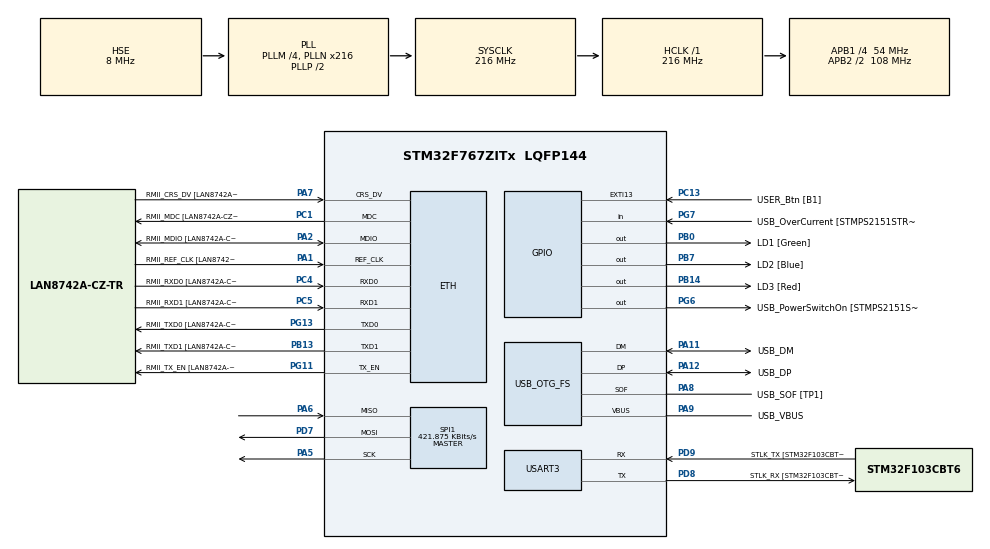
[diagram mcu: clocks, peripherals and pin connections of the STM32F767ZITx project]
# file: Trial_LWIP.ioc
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CORTEX_M7.AccessPermission_S-Cortex_Memory_Protection_Unit_Region1_Settings_S=MPU_REGION_FULL_ACCESS
CORTEX_M7.AccessPermission_S-Cortex_Memory_Protection_Unit_Region2_Settings_S=MPU_REGION_FULL_ACCESS
CORTEX_M7.BaseAddress_S-Cortex_Memory_Protection_Unit_Region1_Settings_S=0x24000000
CORTEX_M7.BaseAddress_S-Cortex_Memory_Protection_Unit_Region2_Settings_S=0x24020000
CORTEX_M7.CPU_DCache=Enabled
CORTEX_M7.CPU_ICache=Enabled
CORTEX_M7.DisableExec_S-Cortex_Memory_Protection_Unit_Region1_Settings_S=MPU_INSTRUCTION_ACCESS_DISABLE
CORTEX_M7.DisableExec_S-Cortex_Memory_Protection_Unit_Region2_Settings_S=MPU_INSTRUCTION_ACCESS_DISABLE
CORTEX_M7.Enable_S-Cortex_Memory_Protection_Unit_Region1_Settings_S=MPU_REGION_ENABLE
CORTEX_M7.Enable_S-Cortex_Memory_Protection_Unit_Region2_Settings_S=MPU_REGION_ENABLE
CORTEX_M7.IsBufferable_S-Cortex_Memory_Protection_Unit_Region2_Settings_S=MPU_ACCESS_BUFFERABLE
CORTEX_M7.IsShareable_S-Cortex_Memory_Protection_Unit_Region2_Settings_S=MPU_ACCESS_SHAREABLE
CORTEX_M7.MPU_Control=MPU_PRIVILEGED_DEFAULT
CORTEX_M7.Size_S-Cortex_Memory_Protection_Unit_Region1_Settings_S=MPU_REGION_SIZE_128KB
CORTEX_M7.Size_S-Cortex_Memory_Protection_Unit_Region2_Settings_S=MPU_REGION_SIZE_512B
CORTEX_M7.TypeExtField_S-Cortex_Memory_Protection_Unit_Region1_Settings_S=MPU_TEX_LEVEL1
CORTEX_M7.default_mode_Activation=1
ETH.MediaInterface=HAL_ETH_RMII_MODE
ETH.PHY_Name=LAN8742A_PHY_ADDRESS
ETH.PHY_Value=0
ETH.PhyAddress=0
ETH.RxMode=ETH_RXINTERRUPT_MODE
FREERTOS.BinarySemaphores01=bufsem,Dynamic,NULL
FREERTOS.Tasks01=defaultTask,0,256,StartDefaultTask,Default,NULL,Dynamic,NULL,NULL
FREERTOS.configMINIMAL_STACK_SIZE=256
LWIP.BSP.number=1
LWIP.GATEWAY_ADDRESS=010.042.000.001
LWIP.IP_ADDRESS=010.042.000.015
LWIP.LWIP_DHCP=0
LWIP.MEM_SIZE=16360
LWIP.NETMASK_ADDRESS=255.255.255.000
LWIP.Version=v2.1.2_Cube
LWIP0.BSP.STBoard=false
LWIP0.BSP.api=BSP_COMPONENT_DRIVER
LWIP0.BSP.component=LAN8742
LWIP0.BSP.instance=LAN8742
LWIP0.BSP.name=Driver_PHY
LWIP0.BSP.semaphore=S_LAN8742
LWIP0.BSP.solution=LAN8742
Mcu.Family=STM32F7
Mcu.Name=STM32F767ZITx
Mcu.Package=LQFP144
NVIC.ETH_IRQn=true\:5\:0\:false\:false\:true\:true\:false\:true\:true
NVIC.PriorityGroup=NVIC_PRIORITYGROUP_4
NVIC.SPI1_IRQn=true\:5\:0\:false\:false\:true\:true\:true\:true\:true
NVIC.TIM6_DAC_IRQn=true\:15\:0\:false\:false\:true\:false\:false\:true\:true
NVIC.TimeBase=TIM6_DAC_IRQn
NVIC.TimeBaseIP=TIM6
PA1.GPIO_Label=RMII_REF_CLK [LAN8742A-CZ-TR_REFCLK0]
PA1.Mode=RMII
PA1.Signal=ETH_REF_CLK
PA10.GPIO_Label=USB_ID
PA10.Signal=USB_OTG_FS_ID
PA11.GPIO_Label=USB_DM
PA11.Mode=Device_Only
PA11.Signal=USB_OTG_FS_DM
PA12.GPIO_Label=USB_DP
PA12.Mode=Device_Only
PA12.Signal=USB_OTG_FS_DP
PA13.GPIO_Label=TMS
PA13.Mode=Serial_Wire
PA13.Signal=SYS_JTMS-SWDIO
PA14.GPIO_Label=TCK
PA14.Mode=Serial_Wire
PA14.Signal=SYS_JTCK-SWCLK
PA2.GPIO_Label=RMII_MDIO [LAN8742A-CZ-TR_MDIO]
PA2.Mode=RMII
PA2.Signal=ETH_MDIO
PA5.Mode=Full_Duplex_Master
PA5.Signal=SPI1_SCK
PA6.Mode=Full_Duplex_Master
PA6.Signal=SPI1_MISO
PA7.GPIO_Label=RMII_CRS_DV [LAN8742A-CZ-TR_CRS_DV]
PA7.Mode=RMII
PA7.Signal=ETH_CRS_DV
PA8.GPIO_Label=USB_SOF [TP1]
PA8.Mode=Activate_SOF_FS
PA8.Signal=USB_OTG_FS_SOF
PA9.GPIO_Label=USB_VBUS
PA9.Mode=Activate_VBUS
PA9.Signal=USB_OTG_FS_VBUS
PB0.GPIO_Label=LD1 [Green]
PB0.Signal=GPIO_Output
PB13.GPIO_Label=RMII_TXD1 [LAN8742A-CZ-TR_TXD1]
PB13.Mode=RMII
PB13.Signal=ETH_TXD1
PB14.GPIO_Label=LD3 [Red]
PB14.Signal=GPIO_Output
PB3.GPIO_Label=SWO
PB3.Signal=SYS_JTDO-SWO
PB7.GPIO_Label=LD2 [Blue]
PB7.Signal=GPIO_Output
PC1.GPIO_Label=RMII_MDC [LAN8742A-CZ-TR_MDC]
PC1.Mode=RMII
PC1.Signal=ETH_MDC
PC13.GPIO_Label=USER_Btn [B1]
PC13.Signal=GPXTI13
PC14/OSC32_IN.Mode=LSE-External-Oscillator
PC14/OSC32_IN.Signal=RCC_OSC32_IN
PC15/OSC32_OUT.Mode=LSE-External-Oscillator
PC15/OSC32_OUT.Signal=RCC_OSC32_OUT
PC4.GPIO_Label=RMII_RXD0 [LAN8742A-CZ-TR_RXD0]
PC4.Mode=RMII
PC4.Signal=ETH_RXD0
PC5.GPIO_Label=RMII_RXD1 [LAN8742A-CZ-TR_RXD1]
PC5.Mode=RMII
PC5.Signal=ETH_RXD1
PD7.Mode=Full_Duplex_Master
PD7.Signal=SPI1_MOSI
PD8.GPIO_Label=STLK_RX [STM32F103CBT6_PA3]
PD8.Mode=Asynchronous
PD8.Signal=USART3_TX
PD9.GPIO_Label=STLK_TX [STM32F103CBT6_PA2]
PD9.Mode=Asynchronous
PD9.Signal=USART3_RX
PG11.GPIO_Label=RMII_TX_EN [LAN8742A-CZ-TR_TXEN]
PG11.Mode=RMII
PG11.Signal=ETH_TX_EN
PG13.GPIO_Label=RMII_TXD0 [LAN8742A-CZ-TR_TXD0]
PG13.Mode=RMII
PG13.Signal=ETH_TXD0
PG6.GPIO_Label=USB_PowerSwitchOn [STMPS2151STR_EN]
PG6.Signal=GPIO_Output
PG7.GPIO_Label=USB_OverCurrent [STMPS2151STR_FAULT]
PG7.Signal=GPIO_Input
PH0/OSC_IN.GPIO_Label=MCO [STM32F103CBT6_PA8]
PH0/OSC_IN.Mode=HSE-External-Clock-Source
PH0/OSC_IN.Signal=RCC_OSC_IN
PH1/OSC_OUT.Mode=HSE-External-Clock-Source
PH1/OSC_OUT.Signal=RCC_OSC_OUT
ProjectManager.HeapSize=0x200
ProjectManager.StackSize=0x400
ProjectManager.TargetToolchain=STM32CubeIDE
RCC.48MHZClocksFreq_Value=24000000
RCC.AHBFreq_Value=216000000
RCC.APB1CLKDivider=RCC_HCLK_DIV4
RCC.APB1Freq_Value=54000000
RCC.APB1TimFreq_Value=108000000
RCC.APB2CLKDivider=RCC_HCLK_DIV2
RCC.APB2Freq_Value=108000000
RCC.APB2TimFreq_Value=216000000
RCC.CortexFreq_Value=216000000
RCC.HCLKFreq_Value=216000000
RCC.HSE_VALUE=8000000
RCC.HSI_VALUE=16000000
RCC.PLLM=4
RCC.PLLMUL=RCC_PLL_MUL9
RCC.PLLN=216
RCC.PLLQ=9
RCC.PRESCALERUSB=RCC_USBCLKSOURCE_PLL_DIV1_5
RCC.SYSCLKFreq_VALUE=216000000
RCC.SYSCLKSource=RCC_SYSCLKSOURCE_PLLCLK
RCC.SYSCLKSourceVirtual=RCC_SYSCLKSOURCE_PLLCLK
RCC.USBFreq_Value=48000000
RCC.VCOOutputFreq_Value=432000000
SPI1.BaudRatePrescaler=SPI_BAUDRATEPRESCALER_256
SPI1.CalculateBaudRate=421.875 KBits/s
SPI1.DataSize=SPI_DATASIZE_8BIT
SPI1.Direction=SPI_DIRECTION_2LINES
SPI1.Mode=SPI_MODE_MASTER
SPI1.VirtualType=VM_MASTER
USART3.VirtualMode-Asynchronous=VM_ASYNC
USB_OTG_FS.VirtualMode=Device_Only
VP_FREERTOS_VS_CMSIS_V1.Mode=CMSIS_V1
VP_LWIP_VS_Enabled.Mode=Enabled
VP_SYS_VS_tim6.Mode=TIM6
board=NUCLEO-F767ZI

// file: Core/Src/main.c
/* USER CODE BEGIN Header */
/**
  ******************************************************************************
  * @file           : main.c
  * @brief          : Main program body
  ******************************************************************************
  * @attention
  *
  * Copyright (c) 2023 STMicroelectronics.
  * All rights reserved.
  *
  * This software is licensed under terms that can be found in the LICENSE file
  * in the root directory of this software component.
  * If no LICENSE file comes with this software, it is provided AS-IS.
  *
  ******************************************************************************
  */
/* USER CODE END Header */
#include "main.h"
#include "cmsis_os.h"
#include "lwip.h"

/* USER CODE BEGIN Includes */
#include "spi.h"
#include "sys_cntrl_configs.h"
/* USER CODE END Includes */

SPI_HandleTypeDef hspi1;

UART_HandleTypeDef huart3;

PCD_HandleTypeDef hpcd_USB_OTG_FS;

osThreadId defaultTaskHandle;
/* USER CODE BEGIN PV */
extern osThreadId mqttClientSubTaskHandle;  //mqtt client task handle
extern osThreadId mqttClientPubTaskHandle;  //mqtt client task handle
extern spi_ spi_obj;

//uint8_t buffer_tx[1] = {0x02};
//uint8_t buffer_rx[1] = {0};
//extern uint8_t success;
/* USER CODE END PV */

void SystemClock_Config(void);
static void MPU_Config(void);
static void MX_GPIO_Init(void);
static void MX_USART3_UART_Init(void);
static void MX_USB_OTG_FS_PCD_Init(void);
static void MX_SPI1_Init(void);
void StartDefaultTask(void const * argument);

/* USER CODE BEGIN PFP */
extern void MqttClientSubTask(void const *argument); //mqtt client subscribe task function
extern void MqttClientPubTask(void const *argument); //mqtt client publish task function
extern void EngagePin(void);
extern void EngagePin1(void);
extern void DisEngagePin1(void);
extern void init_spi(spi_* s);

/* USER CODE END PFP */

int main(void)
{

  /* MPU Configuration--------------------------------------------------------*/
  MPU_Config();

  /* Enable I-Cache---------------------------------------------------------*/
  SCB_EnableICache();

  /* Enable D-Cache---------------------------------------------------------*/
  SCB_EnableDCache();

  /* MCU Configuration--------------------------------------------------------*/

  /* Reset of all peripherals, Initializes the Flash interface and the Systick. */
  HAL_Init();

  /* Configure the system clock */
  SystemClock_Config();

  /* Initialize all configured peripherals */
  MX_GPIO_Init();
  MX_USART3_UART_Init();
  MX_USB_OTG_FS_PCD_Init();
  MX_SPI1_Init();
  /* USER CODE BEGIN 2 */
  init_spi(&spi_obj);
//  HAL_SPI_TransmitReceive_IT(&hspi1, buffer_tx, buffer_rx, 1);
  /* USER CODE END 2 */

  /* Create the thread(s) */
  /* definition and creation of defaultTask */
  osThreadDef(defaultTask, StartDefaultTask, osPriorityNormal, 0, 256);
  defaultTaskHandle = osThreadCreate(osThread(defaultTask), NULL);

  /* Start scheduler */
  osKernelStart();
  /* We should never get here as control is now taken by the scheduler */
  /* Infinite loop */
  while (1)
  {

  }
}

void SystemClock_Config(void)
{
  RCC_OscInitTypeDef RCC_OscInitStruct = {0};
  RCC_ClkInitTypeDef RCC_ClkInitStruct = {0};

  /** Configure LSE Drive Capability
  */
  HAL_PWR_EnableBkUpAccess();

  /** Configure the main internal regulator output voltage
  */
  __HAL_RCC_PWR_CLK_ENABLE();
  __HAL_PWR_VOLTAGESCALING_CONFIG(PWR_REGULATOR_VOLTAGE_SCALE1);

  /** Initializes the RCC Oscillators according to the specified parameters
  * in the RCC_OscInitTypeDef structure.
  */
  RCC_OscInitStruct.OscillatorType = RCC_OSCILLATORTYPE_HSE;
  RCC_OscInitStruct.HSEState = RCC_HSE_BYPASS;
  RCC_OscInitStruct.PLL.PLLState = RCC_PLL_ON;
  RCC_OscInitStruct.PLL.PLLSource = RCC_PLLSOURCE_HSE;
  RCC_OscInitStruct.PLL.PLLM = 4;
  RCC_OscInitStruct.PLL.PLLN = 216;
  RCC_OscInitStruct.PLL.PLLP = RCC_PLLP_DIV2;
  RCC_OscInitStruct.PLL.PLLQ = 9;
  RCC_OscInitStruct.PLL.PLLR = 2;
  if (HAL_RCC_OscConfig(&RCC_OscInitStruct) != HAL_OK)
  {
    Error_Handler();
  }

  /** Activate the Over-Drive mode
  */
  if (HAL_PWREx_EnableOverDrive() != HAL_OK)
  {
    Error_Handler();
  }

  /** Initializes the CPU, AHB and APB buses clocks
  */
  RCC_ClkInitStruct.ClockType = RCC_CLOCKTYPE_HCLK|RCC_CLOCKTYPE_SYSCLK
                              |RCC_CLOCKTYPE_PCLK1|RCC_CLOCKTYPE_PCLK2;
  RCC_ClkInitStruct.SYSCLKSource = RCC_SYSCLKSOURCE_PLLCLK;
  RCC_ClkInitStruct.AHBCLKDivider = RCC_SYSCLK_DIV1;
  RCC_ClkInitStruct.APB1CLKDivider = RCC_HCLK_DIV4;
  RCC_ClkInitStruct.APB2CLKDivider = RCC_HCLK_DIV2;

  if (HAL_RCC_ClockConfig(&RCC_ClkInitStruct, FLASH_LATENCY_7) != HAL_OK)
  {
    Error_Handler();
  }
}

static void MX_SPI1_Init(void)
{

  /* SPI1 parameter configuration*/
  hspi1.Instance = SPI1;
  hspi1.Init.Mode = SPI_MODE_MASTER;
  hspi1.Init.Direction = SPI_DIRECTION_2LINES;
  hspi1.Init.DataSize = SPI_DATASIZE_8BIT;
  hspi1.Init.CLKPolarity = SPI_POLARITY_LOW;
  hspi1.Init.CLKPhase = SPI_PHASE_1EDGE;
  hspi1.Init.NSS = SPI_NSS_SOFT;
  hspi1.Init.BaudRatePrescaler = SPI_BAUDRATEPRESCALER_256;
  hspi1.Init.FirstBit = SPI_FIRSTBIT_MSB;
  hspi1.Init.TIMode = SPI_TIMODE_DISABLE;
  hspi1.Init.CRCCalculation = SPI_CRCCALCULATION_DISABLE;
  hspi1.Init.CRCPolynomial = 7;
  hspi1.Init.CRCLength = SPI_CRC_LENGTH_DATASIZE;
  hspi1.Init.NSSPMode = SPI_NSS_PULSE_ENABLE;
  if (HAL_SPI_Init(&hspi1) != HAL_OK)
  {
    Error_Handler();
  }

}

static void MX_USART3_UART_Init(void)
{

  huart3.Instance = USART3;
  huart3.Init.BaudRate = 115200;
  huart3.Init.WordLength = UART_WORDLENGTH_8B;
  huart3.Init.StopBits = UART_STOPBITS_1;
  huart3.Init.Parity = UART_PARITY_NONE;
  huart3.Init.Mode = UART_MODE_TX_RX;
  huart3.Init.HwFlowCtl = UART_HWCONTROL_NONE;
  huart3.Init.OverSampling = UART_OVERSAMPLING_16;
  huart3.Init.OneBitSampling = UART_ONE_BIT_SAMPLE_DISABLE;
  huart3.AdvancedInit.AdvFeatureInit = UART_ADVFEATURE_NO_INIT;
  if (HAL_UART_Init(&huart3) != HAL_OK)
  {
    Error_Handler();
  }

}

static void MX_USB_OTG_FS_PCD_Init(void)
{

  hpcd_USB_OTG_FS.Instance = USB_OTG_FS;
  hpcd_USB_OTG_FS.Init.dev_endpoints = 6;
  hpcd_USB_OTG_FS.Init.speed = PCD_SPEED_FULL;
  hpcd_USB_OTG_FS.Init.dma_enable = DISABLE;
  hpcd_USB_OTG_FS.Init.phy_itface = PCD_PHY_EMBEDDED;
  hpcd_USB_OTG_FS.Init.Sof_enable = ENABLE;
  hpcd_USB_OTG_FS.Init.low_power_enable = DISABLE;
  hpcd_USB_OTG_FS.Init.lpm_enable = DISABLE;
  hpcd_USB_OTG_FS.Init.vbus_sensing_enable = ENABLE;
  hpcd_USB_OTG_FS.Init.use_dedicated_ep1 = DISABLE;
  if (HAL_PCD_Init(&hpcd_USB_OTG_FS) != HAL_OK)
  {
    Error_Handler();
  }

}

static void MX_GPIO_Init(void)
{
  GPIO_InitTypeDef GPIO_InitStruct = {0};

  /* GPIO Ports Clock Enable */
  __HAL_RCC_GPIOC_CLK_ENABLE();
  __HAL_RCC_GPIOH_CLK_ENABLE();
  __HAL_RCC_GPIOA_CLK_ENABLE();
  __HAL_RCC_GPIOB_CLK_ENABLE();
  __HAL_RCC_GPIOD_CLK_ENABLE();
  __HAL_RCC_GPIOG_CLK_ENABLE();

  /*Configure GPIO pin Output Level */
  HAL_GPIO_WritePin(GPIOB, LD1_Pin|LD3_Pin|LD2_Pin, GPIO_PIN_RESET);

  /*Configure GPIO pin Output Level */
  HAL_GPIO_WritePin(USB_PowerSwitchOn_GPIO_Port, USB_PowerSwitchOn_Pin, GPIO_PIN_RESET);

  /*Configure GPIO pin : USER_Btn_Pin */
  GPIO_InitStruct.Pin = USER_Btn_Pin;
  GPIO_InitStruct.Mode = GPIO_MODE_IT_RISING;
  GPIO_InitStruct.Pull = GPIO_NOPULL;
  HAL_GPIO_Init(USER_Btn_GPIO_Port, &GPIO_InitStruct);

  /*Configure GPIO pins : LD1_Pin LD3_Pin LD2_Pin */
  GPIO_InitStruct.Pin = LD1_Pin|LD3_Pin|LD2_Pin;
  GPIO_InitStruct.Mode = GPIO_MODE_OUTPUT_PP;
  GPIO_InitStruct.Pull = GPIO_NOPULL;
  GPIO_InitStruct.Speed = GPIO_SPEED_FREQ_LOW;
  HAL_GPIO_Init(GPIOB, &GPIO_InitStruct);

  /*Configure GPIO pin : USB_PowerSwitchOn_Pin */
  GPIO_InitStruct.Pin = USB_PowerSwitchOn_Pin;
  GPIO_InitStruct.Mode = GPIO_MODE_OUTPUT_PP;
  GPIO_InitStruct.Pull = GPIO_NOPULL;
  GPIO_InitStruct.Speed = GPIO_SPEED_FREQ_LOW;
  HAL_GPIO_Init(USB_PowerSwitchOn_GPIO_Port, &GPIO_InitStruct);

  /*Configure GPIO pin : USB_OverCurrent_Pin */
  GPIO_InitStruct.Pin = USB_OverCurrent_Pin;
  GPIO_InitStruct.Mode = GPIO_MODE_INPUT;
  GPIO_InitStruct.Pull = GPIO_NOPULL;
  HAL_GPIO_Init(USB_OverCurrent_GPIO_Port, &GPIO_InitStruct);

}

void StartDefaultTask(void const * argument)
{
  /* init code for LWIP */
  MX_LWIP_Init();
  /* USER CODE BEGIN 5 */
  osThreadDef(mqttClientSubTask, MqttClientSubTask, osPriorityNormal, 0, configMINIMAL_STACK_SIZE*2); //subscribe task
  	osThreadDef(mqttClientPubTask, MqttClientPubTask, osPriorityNormal, 0, configMINIMAL_STACK_SIZE*2); //publish task
  	mqttClientSubTaskHandle = osThreadCreate(osThread(mqttClientSubTask), NULL);
  	mqttClientPubTaskHandle = osThreadCreate(osThread(mqttClientPubTask), NULL);
  /* Infinite loop */
  for(;;)
  {
//	  IRSENSOR1
//	  spi_obj.spi_read(buffer_tx[0],buffer_rx,&hspi1);
	  spi_obj.spi_read(IRSENSOR1,spi_obj.rx_buf,&hspi1);

    osDelay(20);

  }
  /* USER CODE END 5 */
}

/* MPU Configuration */

void MPU_Config(void)
{
  MPU_Region_InitTypeDef MPU_InitStruct = {0};

  /* Disables the MPU */
  HAL_MPU_Disable();

  /** Initializes and configures the Region and the memory to be protected
  */
  MPU_InitStruct.Enable = MPU_REGION_ENABLE;
  MPU_InitStruct.Number = MPU_REGION_NUMBER0;
  MPU_InitStruct.BaseAddress = 0x0;
  MPU_InitStruct.Size = MPU_REGION_SIZE_4GB;
  MPU_InitStruct.SubRegionDisable = 0x87;
  MPU_InitStruct.TypeExtField = MPU_TEX_LEVEL0;
  MPU_InitStruct.AccessPermission = MPU_REGION_NO_ACCESS;
  MPU_InitStruct.DisableExec = MPU_INSTRUCTION_ACCESS_DISABLE;
  MPU_InitStruct.IsShareable = MPU_ACCESS_SHAREABLE;
  MPU_InitStruct.IsCacheable = MPU_ACCESS_NOT_CACHEABLE;
  MPU_InitStruct.IsBufferable = MPU_ACCESS_NOT_BUFFERABLE;

  HAL_MPU_ConfigRegion(&MPU_InitStruct);

  /** Initializes and configures the Region and the memory to be protected
  */
  MPU_InitStruct.Number = MPU_REGION_NUMBER1;
  MPU_InitStruct.BaseAddress = 0x24000000;
  MPU_InitStruct.Size = MPU_REGION_SIZE_128KB;
  MPU_InitStruct.SubRegionDisable = 0x0;
  MPU_InitStruct.TypeExtField = MPU_TEX_LEVEL1;
  MPU_InitStruct.AccessPermission = MPU_REGION_FULL_ACCESS;
  MPU_InitStruct.IsShareable = MPU_ACCESS_NOT_SHAREABLE;

  HAL_MPU_ConfigRegion(&MPU_InitStruct);

  /** Initializes and configures the Region and the memory to be protected
  */
  MPU_InitStruct.Number = MPU_REGION_NUMBER2;
  MPU_InitStruct.BaseAddress = 0x24020000;
  MPU_InitStruct.Size = MPU_REGION_SIZE_512B;
  MPU_InitStruct.TypeExtField = MPU_TEX_LEVEL0;
  MPU_InitStruct.IsShareable = MPU_ACCESS_SHAREABLE;
  MPU_InitStruct.IsBufferable = MPU_ACCESS_BUFFERABLE;

  HAL_MPU_ConfigRegion(&MPU_InitStruct);
  /* Enables the MPU */
  HAL_MPU_Enable(MPU_PRIVILEGED_DEFAULT);

}

void HAL_TIM_PeriodElapsedCallback(TIM_HandleTypeDef *htim)
{
  if (htim->Instance == TIM6) {
    HAL_IncTick();
  }
}

void Error_Handler(void)
{
  __disable_irq();
  while (1)
  {
  }
}

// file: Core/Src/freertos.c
/* USER CODE BEGIN Header */
/**
  ******************************************************************************
  * File Name          : freertos.c
  * Description        : Code for freertos applications
  ******************************************************************************
  * @attention
  *
  * Copyright (c) 2023 STMicroelectronics.
  * All rights reserved.
  *
  * This software is licensed under terms that can be found in the LICENSE file
  * in the root directory of this software component.
  * If no LICENSE file comes with this software, it is provided AS-IS.
  *
  ******************************************************************************
  */
/* USER CODE END Header */

#include "FreeRTOS.h"
#include "task.h"
#include "main.h"

/* USER CODE BEGIN Includes */
#include <string.h>
#include "lwip.h"
#include "lwip/api.h"
#include "MQTTClient.h"
#include "MQTTInterface.h"
#include "sensor_data.h"
#include "process_data.h"
/* USER CODE END Includes */

/* USER CODE BEGIN PD */
#define BROKER_IP		"10.42.0.84"
#define MQTT_PORT		1883
#define MQTT_BUFSIZE	1024

/* USER CODE END PD */

/* USER CODE BEGIN Variables */
extern struct netif gnetif; //extern gnetif

osThreadId mqttClientSubTaskHandle;  //mqtt client task handle
osThreadId mqttClientPubTaskHandle;  //mqtt client task handle

Network net; //mqtt network
MQTTClient mqttClient; //mqtt client

uint8_t sndBuffer[MQTT_BUFSIZE]; //mqtt send buffer
uint8_t rcvBuffer[MQTT_BUFSIZE]; //mqtt receive buffer
uint8_t msgBuffer[MQTT_BUFSIZE]; //mqtt message buffer
extern volatile sensorData_buf sensorDataBuf; //sensor data buffer
extern osSemaphoreId bufsemHandle;

//pb_SensorData pb_recv_obj= pb_SensorData_init_zero;
sensorData sd1;
sensorData sd3;
sensorData sd5;
sensorData sd6;
//sensorData sd4 = sensorDataBuf.front(&sensorDataBuf);
/* USER CODE END Variables */

/* USER CODE BEGIN FunctionPrototypes */
void MqttClientSubTask(void const *argument); //mqtt client subscribe task function
void MqttClientPubTask(void const *argument); //mqtt client publish task function
int  MqttConnectBroker(void); 				//mqtt broker connect function
void MqttMessageArrived(MessageData* msg); //mqtt message callback function
void EngagePin(void);
void EngagePin1(void);
extern bool sensor_data_to_pbuf(sensorData* sd,uint8_t *msg_buf,uint32_t len);
/* USER CODE END FunctionPrototypes */

/* GetIdleTaskMemory prototype (linked to static allocation support) */
void vApplicationGetIdleTaskMemory( StaticTask_t **ppxIdleTaskTCBBuffer, StackType_t **ppxIdleTaskStackBuffer, uint32_t *pulIdleTaskStackSize );

/* USER CODE BEGIN GET_IDLE_TASK_MEMORY */
static StaticTask_t xIdleTaskTCBBuffer;
static StackType_t xIdleStack[configMINIMAL_STACK_SIZE];

void vApplicationGetIdleTaskMemory( StaticTask_t **ppxIdleTaskTCBBuffer, StackType_t **ppxIdleTaskStackBuffer, uint32_t *pulIdleTaskStackSize )
{
  *ppxIdleTaskTCBBuffer = &xIdleTaskTCBBuffer;
  *ppxIdleTaskStackBuffer = &xIdleStack[0];
  *pulIdleTaskStackSize = configMINIMAL_STACK_SIZE;
  /* place for user code */
}
/* USER CODE END GET_IDLE_TASK_MEMORY */

/* USER CODE BEGIN Application */
void MqttClientSubTask(void const *argument)
{
	while(1)
	{
		//waiting for valid ip address
		if (gnetif.ip_addr.addr == 0 || gnetif.netmask.addr == 0 || gnetif.gw.addr == 0) //system has no valid ip address
		{
			osDelay(1000);
			continue;
		}
		else
		{
			printf("DHCP/Static IP O.K.\n");
			break;
		}
	}

//	MqttConnectBroker();
//				osDelay(1000);

	while(1)
	{
		if(!mqttClient.isconnected)
		{
			//try to connect to the broker
			MQTTDisconnect(&mqttClient);
			MqttConnectBroker();
//			osDelay(1000);
			vTaskDelay(1000);
		}
		else
		{
//			EngagePin1();
			MQTTYield(&mqttClient, 1000); //handle timer
//			osDelay(100);
			vTaskDelay(1000);
		}
	}
}

void MqttClientPubTask(void const *argument)
{
	uint8_t obuffer[pb_SensorData_size];
	sensorData sd = {.sensorName="",.sensorID=0,.sensorVal=0,.timeStamp=0};

//	if (xSemaphoreTake(bufsemHandle, portMAX_DELAY)) {
//
//		sd = sensorDataBuf.front(&sensorDataBuf);
//
////		copy_(&tmp, &sd);
//	}
//	//	copy_(&sd, &sd1);
//		bool res=sensor_data_to_pbuf(&sd,obuffer,sizeof(obuffer));

//	const char* str = "MQTT message from STM32";
	MQTTMessage message;

	while(1)
	{
		if(mqttClient.isconnected)
		{
			if (xSemaphoreTake(bufsemHandle, portMAX_DELAY)) {

				sd = sensorDataBuf.front(&sensorDataBuf);

			//		copy_(&tmp, &sd);
			}
				//	copy_(&sd, &sd1);
			bool res=sensor_data_to_pbuf(&sd,obuffer,sizeof(obuffer));
			if (res) {
				if (strlen((const char*)sd.sensorName)) {
					sd5=sd;
//					copy_(&sd, &sd1);
					message.payload = (void*)obuffer;
					message.payloadlen = sizeof(obuffer);
					MQTTPublish(&mqttClient, "test", &message); //publish a message
				}
	//			message.payload = (void*)str;
	//			message.payloadlen = strlen(str);

//				MQTTPublish(&mqttClient, "test", &message); //publish a message
			}
		}

//		osDelay(1000);
		vTaskDelay(1000);
	}
}

int MqttConnectBroker()
{
	int ret;

	NewNetwork(&net);
	ret = ConnectNetwork(&net, BROKER_IP, MQTT_PORT);
	if(ret != MQTT_SUCCESS)
	{
		printf("ConnectNetwork failed.\n");
		return -1;
	}

	MQTTClientInit(&mqttClient, &net, 1000, sndBuffer, sizeof(sndBuffer), rcvBuffer, sizeof(rcvBuffer));

	MQTTPacket_connectData data = MQTTPacket_connectData_initializer;
	data.willFlag = 0;
	data.MQTTVersion = 3;
	data.clientID.cstring = "STM32F4";
	data.username.cstring = "STM32F4";
	data.password.cstring = "";
	data.keepAliveInterval = 60;
	data.cleansession = 1;

	ret = MQTTConnect(&mqttClient, &data);
	if(ret != MQTT_SUCCESS)
	{
		printf("MQTTConnect failed.\n");
		return ret;
	}
	osDelay(500);

	ret = MQTTSubscribe(&mqttClient, "test", QOS0, MqttMessageArrived);
	if(ret != MQTT_SUCCESS)
	{
		printf("MQTTSubscribe failed.\n");
		return ret;
	}
	osDelay(500);

	printf("MQTT_ConnectBroker O.K.\n");
	return MQTT_SUCCESS;
}

void MqttMessageArrived(MessageData* msg)
{
	HAL_GPIO_TogglePin(GPIOB, LD3_Pin); //toggle pin when new message arrived

	MQTTMessage* message = msg->message;
	memset(msgBuffer, 0, sizeof(msgBuffer));
	memcpy(msgBuffer, message->payload,message->payloadlen);

	pb_SensorData pb_recv_obj= pb_SensorData_init_zero;
	sensorData sd2 = {.sensorID=0,.sensorName="",.sensorVal=0,.timeStamp=0};
	message_to_pb_obj(&pb_recv_obj,msgBuffer,sizeof(msgBuffer));
	pbuf_to_sensor_data(&pb_recv_obj,&sd2);
	sd6=sd2;
//	copy_(&sd2, &sd1);

	printf("MQTT MSG[%d]:%s\n", (int)message->payloadlen, msgBuffer);
}

void EngagePin(void) {
	HAL_GPIO_TogglePin(GPIOB, LD2_Pin);
}

void EngagePin1(void) {
	HAL_GPIO_TogglePin(GPIOB, LD1_Pin);
}
void DisEngagePin1(void) {
	HAL_GPIO_WritePin(GPIOB, LD1_Pin, GPIO_PIN_RESET);
}
/* USER CODE END Application */
